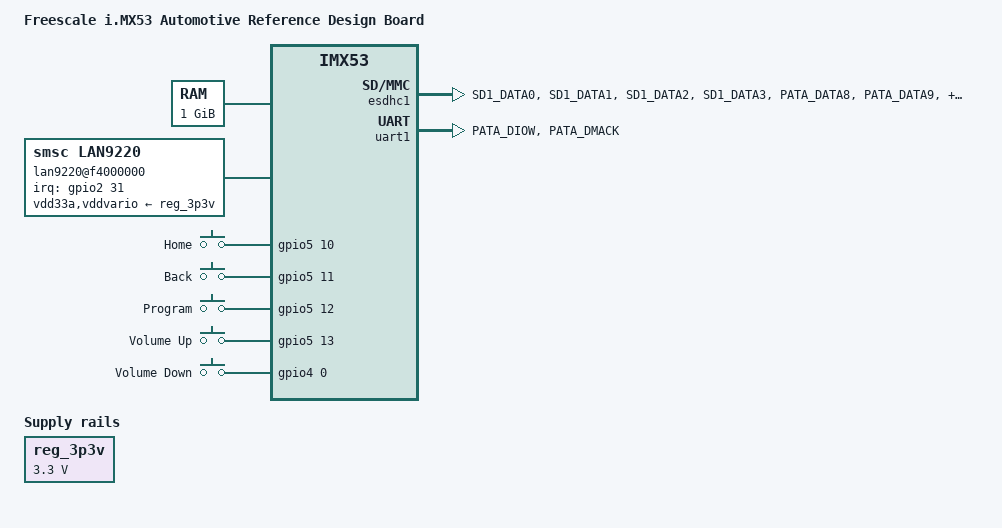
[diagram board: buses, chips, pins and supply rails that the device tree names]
/*
 * Copyright 2011 Freescale Semiconductor, Inc.
 * Copyright 2011 Linaro Ltd.
 *
 * The code contained herein is licensed under the GNU General Public
 * License. You may obtain a copy of the GNU General Public License
 * Version 2 or later at the following locations:
 *
 * http://www.opensource.org/licenses/gpl-license.html
 * http://www.gnu.org/copyleft/gpl.html
 */

/dts-v1/;
#include "imx53.dtsi"

/ {
	model = "Freescale i.MX53 Automotive Reference Design Board";
	compatible = "fsl,imx53-ard", "fsl,imx53";

	memory {
		reg = <0x70000000 0x40000000>;
	};

	eim-cs1@f4000000 {
		#address-cells = <1>;
		#size-cells = <1>;
		compatible = "fsl,eim-bus", "simple-bus";
		reg = <0xf4000000 0x3ff0000>;
		ranges;

		lan9220@f4000000 {
			compatible = "smsc,lan9220", "smsc,lan9115";
			reg = <0xf4000000 0x2000000>;
			phy-mode = "mii";
			interrupt-parent = <&gpio2>;
			interrupts = <31 0x8>;
			reg-io-width = <4>;
			/*
			 * VDD33A and VDDVARIO of LAN9220 are supplied by
			 * SW4_3V3 of LTC3589.  Before the regulator driver
			 * for this PMIC is available, we use a fixed dummy
			 * 3V3 regulator to get LAN9220 driver probing work.
			 */
			vdd33a-supply = <&reg_3p3v>;
			vddvario-supply = <&reg_3p3v>;
			smsc,irq-push-pull;
		};
	};

	regulators {
		compatible = "simple-bus";
		#address-cells = <1>;
		#size-cells = <0>;

		reg_3p3v: regulator@0 {
			compatible = "regulator-fixed";
			reg = <0>;
			regulator-name = "3P3V";
			regulator-min-microvolt = <3300000>;
			regulator-max-microvolt = <3300000>;
			regulator-always-on;
		};
	};

	gpio-keys {
		compatible = "gpio-keys";

		home {
			label = "Home";
			gpios = <&gpio5 10 0>;
			linux,code = <102>; /* KEY_HOME */
			gpio-key,wakeup;
		};

		back {
			label = "Back";
			gpios = <&gpio5 11 0>;
			linux,code = <158>; /* KEY_BACK */
			gpio-key,wakeup;
		};

		program {
			label = "Program";
			gpios = <&gpio5 12 0>;
			linux,code = <362>; /* KEY_PROGRAM */
			gpio-key,wakeup;
		};

		volume-up {
			label = "Volume Up";
			gpios = <&gpio5 13 0>;
			linux,code = <115>; /* KEY_VOLUMEUP */
		};

		volume-down {
			label = "Volume Down";
			gpios = <&gpio4 0 0>;
			linux,code = <114>; /* KEY_VOLUMEDOWN */
		};
	};
};

&esdhc1 {
	pinctrl-names = "default";
	pinctrl-0 = <&pinctrl_esdhc1>;
	cd-gpios = <&gpio1 1 0>;
	wp-gpios = <&gpio1 9 0>;
	status = "okay";
};

&iomuxc {
	pinctrl-names = "default";
	pinctrl-0 = <&pinctrl_hog>;

	imx53-ard {
		pinctrl_hog: hoggrp {
			fsl,pins = <
				MX53_PAD_GPIO_1__GPIO1_1             0x80000000
				MX53_PAD_GPIO_9__GPIO1_9             0x80000000
				MX53_PAD_EIM_EB3__GPIO2_31           0x80000000
				MX53_PAD_GPIO_10__GPIO4_0            0x80000000
				MX53_PAD_DISP0_DAT16__GPIO5_10	     0x80000000
				MX53_PAD_DISP0_DAT17__GPIO5_11       0x80000000
				MX53_PAD_DISP0_DAT18__GPIO5_12       0x80000000
				MX53_PAD_DISP0_DAT19__GPIO5_13       0x80000000
				MX53_PAD_EIM_D16__EMI_WEIM_D_16      0x80000000
				MX53_PAD_EIM_D17__EMI_WEIM_D_17      0x80000000
				MX53_PAD_EIM_D18__EMI_WEIM_D_18      0x80000000
				MX53_PAD_EIM_D19__EMI_WEIM_D_19      0x80000000
				MX53_PAD_EIM_D20__EMI_WEIM_D_20      0x80000000
				MX53_PAD_EIM_D21__EMI_WEIM_D_21      0x80000000
				MX53_PAD_EIM_D22__EMI_WEIM_D_22      0x80000000
				MX53_PAD_EIM_D23__EMI_WEIM_D_23      0x80000000
				MX53_PAD_EIM_D24__EMI_WEIM_D_24      0x80000000
				MX53_PAD_EIM_D25__EMI_WEIM_D_25      0x80000000
				MX53_PAD_EIM_D26__EMI_WEIM_D_26      0x80000000
				MX53_PAD_EIM_D27__EMI_WEIM_D_27      0x80000000
				MX53_PAD_EIM_D28__EMI_WEIM_D_28      0x80000000
				MX53_PAD_EIM_D29__EMI_WEIM_D_29      0x80000000
				MX53_PAD_EIM_D30__EMI_WEIM_D_30      0x80000000
				MX53_PAD_EIM_D31__EMI_WEIM_D_31      0x80000000
				MX53_PAD_EIM_DA0__EMI_NAND_WEIM_DA_0 0x80000000
				MX53_PAD_EIM_DA1__EMI_NAND_WEIM_DA_1 0x80000000
				MX53_PAD_EIM_DA2__EMI_NAND_WEIM_DA_2 0x80000000
				MX53_PAD_EIM_DA3__EMI_NAND_WEIM_DA_3 0x80000000
				MX53_PAD_EIM_DA4__EMI_NAND_WEIM_DA_4 0x80000000
				MX53_PAD_EIM_DA5__EMI_NAND_WEIM_DA_5 0x80000000
				MX53_PAD_EIM_DA6__EMI_NAND_WEIM_DA_6 0x80000000
				MX53_PAD_EIM_OE__EMI_WEIM_OE	     0x80000000
				MX53_PAD_EIM_RW__EMI_WEIM_RW	     0x80000000
				MX53_PAD_EIM_CS1__EMI_WEIM_CS_1	     0x80000000
			>;
		};

		pinctrl_esdhc1: esdhc1grp {
			fsl,pins = <
				MX53_PAD_SD1_DATA0__ESDHC1_DAT0		0x1d5
				MX53_PAD_SD1_DATA1__ESDHC1_DAT1		0x1d5
				MX53_PAD_SD1_DATA2__ESDHC1_DAT2		0x1d5
				MX53_PAD_SD1_DATA3__ESDHC1_DAT3		0x1d5
				MX53_PAD_PATA_DATA8__ESDHC1_DAT4	0x1d5
				MX53_PAD_PATA_DATA9__ESDHC1_DAT5	0x1d5
				MX53_PAD_PATA_DATA10__ESDHC1_DAT6	0x1d5
				MX53_PAD_PATA_DATA11__ESDHC1_DAT7	0x1d5
				MX53_PAD_SD1_CMD__ESDHC1_CMD		0x1d5
				MX53_PAD_SD1_CLK__ESDHC1_CLK		0x1d5
			>;
		};

		pinctrl_uart1: uart1grp {
			fsl,pins = <
				MX53_PAD_PATA_DIOW__UART1_TXD_MUX	0x1e4
				MX53_PAD_PATA_DMACK__UART1_RXD_MUX	0x1e4
			>;
		};
	};
};

&uart1 {
	pinctrl-names = "default";
	pinctrl-0 = <&pinctrl_uart1>;
	status = "okay";
};
